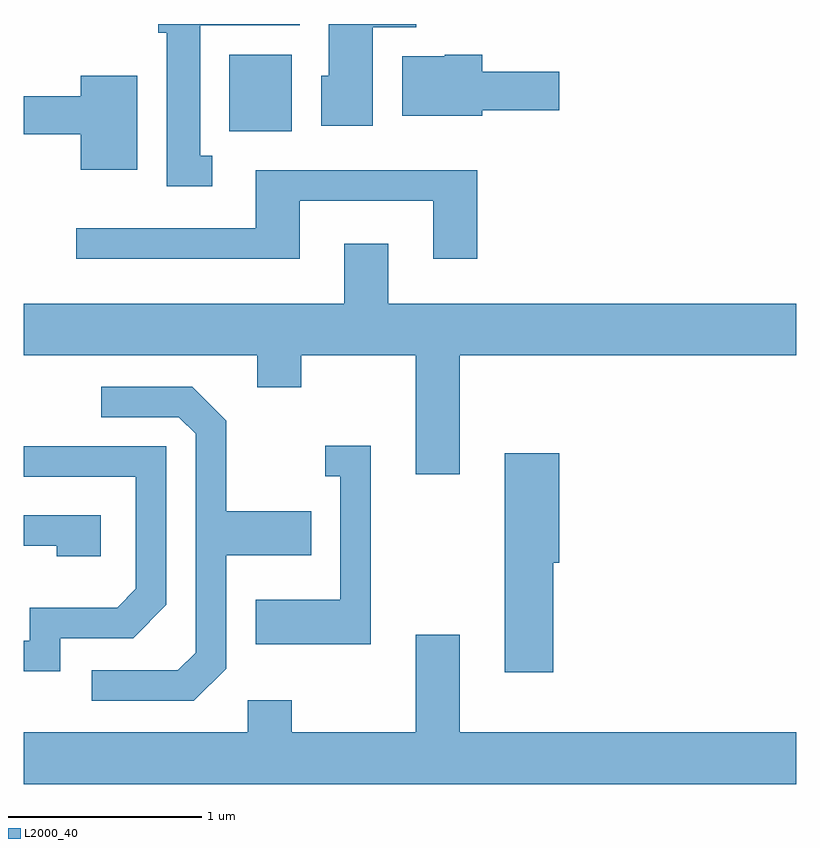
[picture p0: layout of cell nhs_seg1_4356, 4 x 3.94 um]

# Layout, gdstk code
import gdstk
lib = gdstk.Library(unit=1e-6, precision=1e-09)
def R(c, l, rs):  # rectangles x0, y0, x1, y1
    for r in rs: c.add(gdstk.rectangle(r[:2], r[2:], *l))
def P(c, l, *ps):  # polygons
    for p in ps: c.add(gdstk.Polygon(p, *l))
L2000_40 = (2000, 40)

nhs_seg1_4356 = lib.new_cell('nhs_seg1_4356')
R(nhs_seg1_4356, L2000_40, [(316.676,925.156,316.999,925.554)])
P(nhs_seg1_4356, L2000_40, [(316.588,925.029),(316.524,925.029),(316.524,925.706),(317.039,925.706),(317.039,925.712),(316.306,925.712),(316.306,925.666),(316.351,925.666),(316.351,924.871),(316.588,924.871)],
  [(317.419,925.696),(317.644,925.696),(317.644,925.712),(317.191,925.712),(317.191,925.444),(317.151,925.444),(317.151,925.186),(317.419,925.186)],
  [(317.984,925.266),(318.384,925.266),(318.384,925.464),(317.984,925.464),(317.984,925.554),(317.79,925.554),(317.79,925.544),(317.571,925.544),(317.571,925.236),(317.984,925.236)],
  [(316.199,925.444),(315.906,925.444),(315.906,925.339),(315.611,925.339),(315.611,925.141),(315.906,925.141),(315.906,924.956),(316.199,924.956)],
  [(317.039,924.796),(317.731,924.796),(317.731,924.496),(317.959,924.496),(317.959,924.954),(316.811,924.954),(316.811,924.654),(315.883,924.654),(315.883,924.496),(317.039,924.496)],
  [(317.869,923.996),(319.611,923.996),(319.611,924.264),(317.499,924.264),(317.499,924.574),(317.271,924.574),(317.271,924.264),(315.611,924.264),(315.611,923.996),(316.821,923.996),(316.821,923.831),(317.049,923.831),(317.049,923.996),(317.641,923.996),(317.641,923.381),(317.869,923.381)],
  [(316.659,922.374),(316.659,922.961),(317.099,922.961),(317.099,923.189),(316.659,923.189),(316.659,923.657),(316.482,923.834),(316.013,923.834),(316.013,923.676),(316.414,923.676),(316.501,923.589),(316.501,922.457),(316.409,922.364),(315.963,922.364),(315.963,922.206),(316.492,922.206)],
  [(317.409,923.529),(317.173,923.529),(317.173,923.371),(317.251,923.371),(317.251,922.729),(316.811,922.729),(316.811,922.501),(317.409,922.501)],
  [(315.799,922.531),(316.177,922.531),(316.349,922.704),(316.349,923.524),(315.611,923.524),(315.611,923.366),(316.191,923.366),(316.191,922.787),(316.094,922.689),(315.641,922.689),(315.641,922.519),(315.611,922.519),(315.611,922.361),(315.799,922.361)],
  [(318.354,922.921),(318.384,922.921),(318.384,923.489),(318.101,923.489),(318.101,922.356),(318.354,922.356)],
  [(316.009,923.169),(315.611,923.169),(315.611,923.011),(315.781,923.011),(315.781,922.956),(316.009,922.956)],
  [(319.611,922.044),(317.869,922.044),(317.869,922.549),(317.641,922.549),(317.641,922.044),(316.999,922.044),(316.999,922.209),(316.771,922.209),(316.771,922.044),(315.611,922.044),(315.611,921.776),(319.611,921.776)])

lib.write_gds('nhs_seg1_4356.gds')
